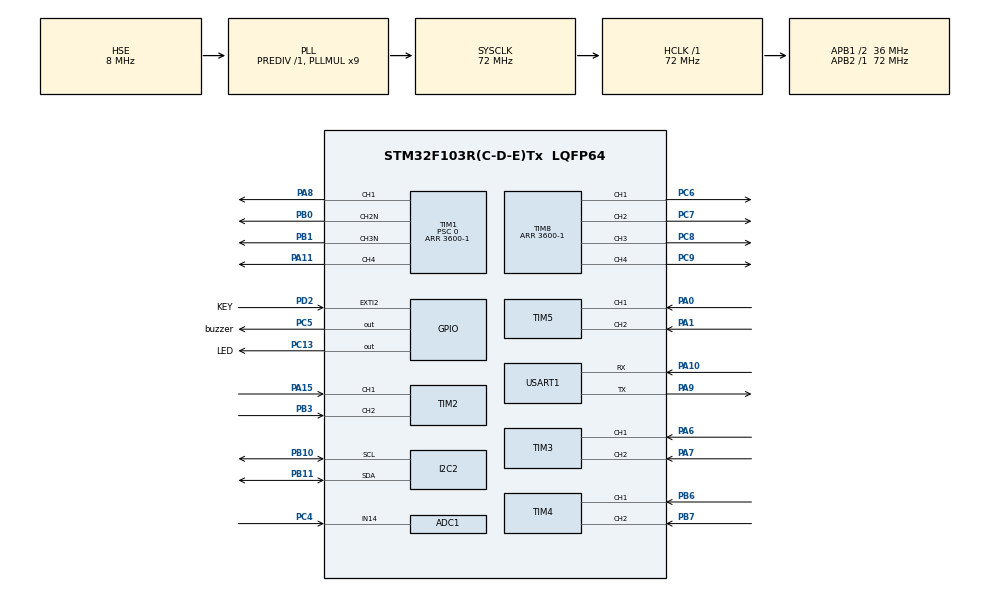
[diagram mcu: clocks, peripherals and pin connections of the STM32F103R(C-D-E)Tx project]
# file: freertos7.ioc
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ADC1.Channel-0\#ChannelRegularConversion=ADC_CHANNEL_14
ADC1.ContinuousConvMode=ENABLE
ADC1.NbrOfConversion=1
ADC1.NbrOfConversionFlag=1
ADC1.Rank-0\#ChannelRegularConversion=1
ADC1.SamplingTime-0\#ChannelRegularConversion=ADC_SAMPLETIME_239CYCLES_5
ADC1.master=1
FREERTOS.Tasks01=defaultTask,24,128,StartDefaultTask,Default,NULL,Dynamic,NULL,NULL
FREERTOS.configTOTAL_HEAP_SIZE=8000
FREERTOS.configUSE_NEWLIB_REENTRANT=1
Mcu.Family=STM32F1
Mcu.Name=STM32F103R(C-D-E)Tx
Mcu.Package=LQFP64
NVIC.EXTI2_IRQn=true\:5\:0\:false\:false\:true\:true\:true\:true\:true
NVIC.PriorityGroup=NVIC_PRIORITYGROUP_4
NVIC.TIM6_IRQn=true\:15\:0\:false\:false\:true\:false\:false\:true\:true
NVIC.TIM7_IRQn=true\:5\:0\:false\:false\:true\:true\:true\:true\:true
NVIC.TimeBase=TIM6_IRQn
NVIC.TimeBaseIP=TIM6
PA0-WKUP.Signal=S_TIM5_CH1
PA1.Signal=S_TIM5_CH2
PA10.Mode=Asynchronous
PA10.Signal=USART1_RX
PA11.Signal=S_TIM1_CH4
PA13.Mode=Serial_Wire
PA13.Signal=SYS_JTMS-SWDIO
PA14.Mode=Serial_Wire
PA14.Signal=SYS_JTCK-SWCLK
PA15.Signal=S_TIM2_CH1_ETR
PA6.Signal=S_TIM3_CH1
PA7.Signal=S_TIM3_CH2
PA8.Signal=S_TIM1_CH1
PA9.Mode=Asynchronous
PA9.Signal=USART1_TX
PB0.Mode=PWM Generation2 CH2N
PB0.Signal=TIM1_CH2N
PB1.Mode=PWM Generation3 CH3N
PB1.Signal=TIM1_CH3N
PB10.Mode=I2C
PB10.Signal=I2C2_SCL
PB11.Mode=I2C
PB11.Signal=I2C2_SDA
PB3.Signal=S_TIM2_CH2
PB6.Signal=S_TIM4_CH1
PB7.Signal=S_TIM4_CH2
PC13-TAMPER-RTC.GPIO_Label=LED
PC13-TAMPER-RTC.Signal=GPIO_Output
PC4.Signal=ADCx_IN14
PC5.GPIO_Label=buzzer
PC5.GPIO_Speed=GPIO_SPEED_FREQ_LOW
PC5.Signal=GPIO_Output
PC6.Signal=S_TIM8_CH1
PC7.Signal=S_TIM8_CH2
PC8.Signal=S_TIM8_CH3
PC9.Signal=S_TIM8_CH4
PD0-OSC_IN.Mode=HSE-External-Oscillator
PD0-OSC_IN.Signal=RCC_OSC_IN
PD1-OSC_OUT.Mode=HSE-External-Oscillator
PD1-OSC_OUT.Signal=RCC_OSC_OUT
PD2.GPIO_Label=KEY
PD2.GPIO_ModeDefaultEXTI=GPIO_MODE_IT_FALLING
PD2.GPIO_PuPd=GPIO_PULLUP
PD2.Signal=GPXTI2
ProjectManager.HeapSize=0x200
ProjectManager.StackSize=0x400
ProjectManager.TargetToolchain=STM32CubeIDE
RCC.ADCPresc=RCC_ADCPCLK2_DIV6
RCC.AHBFreq_Value=72000000
RCC.APB1CLKDivider=RCC_HCLK_DIV2
RCC.APB1Freq_Value=36000000
RCC.APB1TimFreq_Value=72000000
RCC.APB2Freq_Value=72000000
RCC.APB2TimFreq_Value=72000000
RCC.HCLKFreq_Value=72000000
RCC.PLLMUL=RCC_PLL_MUL9
RCC.PLLSourceVirtual=RCC_PLLSOURCE_HSE
RCC.SYSCLKFreq_VALUE=72000000
RCC.SYSCLKSource=RCC_SYSCLKSOURCE_PLLCLK
RCC.USBFreq_Value=72000000
SH.ADCx_IN14.0=ADC1_IN14,IN14
SH.S_TIM1_CH1.0=TIM1_CH1,PWM Generation1 CH1
SH.S_TIM1_CH4.0=TIM1_CH4,PWM Generation4 CH4
SH.S_TIM2_CH1_ETR.0=TIM2_CH1,Encoder_Interface
SH.S_TIM2_CH2.0=TIM2_CH2,Encoder_Interface
SH.S_TIM3_CH1.0=TIM3_CH1,Encoder_Interface
SH.S_TIM3_CH2.0=TIM3_CH2,Encoder_Interface
SH.S_TIM4_CH1.0=TIM4_CH1,Encoder_Interface
SH.S_TIM4_CH2.0=TIM4_CH2,Encoder_Interface
SH.S_TIM5_CH1.0=TIM5_CH1,Encoder_Interface
SH.S_TIM5_CH2.0=TIM5_CH2,Encoder_Interface
SH.S_TIM8_CH1.0=TIM8_CH1,Output Compare1 CH1
SH.S_TIM8_CH2.0=TIM8_CH2,PWM Generation2 CH2
SH.S_TIM8_CH3.0=TIM8_CH3,PWM Generation3 CH3
SH.S_TIM8_CH4.0=TIM8_CH4,PWM Generation4 CH4
TIM1.AutoReloadPreload=TIM_AUTORELOAD_PRELOAD_ENABLE
TIM1.Channel-PWM\ Generation1\ CH1=TIM_CHANNEL_1
TIM1.Channel-PWM\ Generation2\ CH2N=TIM_CHANNEL_2
TIM1.Channel-PWM\ Generation3\ CH3N=TIM_CHANNEL_3
TIM1.Channel-PWM\ Generation4\ CH4=TIM_CHANNEL_4
TIM1.Period=3600-1
TIM1.Prescaler=0
TIM3.AutoReloadPreload=TIM_AUTORELOAD_PRELOAD_ENABLE
TIM3.EncoderMode=TIM_ENCODERMODE_TI12
TIM3.IC1Filter=0xf
TIM3.IC2Filter=0xf
TIM7.AutoReloadPreload=TIM_AUTORELOAD_PRELOAD_ENABLE
TIM7.Period=10000-1
TIM7.Prescaler=7200-1
TIM8.Channel-Output\ Compare1\ CH1=TIM_CHANNEL_1
TIM8.Channel-PWM\ Generation2\ CH2=TIM_CHANNEL_2
TIM8.Channel-PWM\ Generation3\ CH3=TIM_CHANNEL_3
TIM8.Channel-PWM\ Generation4\ CH4=TIM_CHANNEL_4
TIM8.Period=3600-1
USART1.VirtualMode=VM_ASYNC
VP_FREERTOS_VS_CMSIS_V2.Mode=CMSIS_V2
VP_SYS_VS_tim6.Mode=TIM6
VP_TIM1_VS_ClockSourceINT.Mode=Internal
VP_TIM7_VS_ClockSourceINT.Mode=Enable_Timer
VP_TIM8_VS_ClockSourceINT.Mode=Internal
board=custom

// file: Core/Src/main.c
/* USER CODE BEGIN Header */
/**
  ******************************************************************************
  * @file           : main.c
  * @brief          : Main program body
  ******************************************************************************
  * @attention
  *
  * Copyright (c) 2025 STMicroelectronics.
  * All rights reserved.
  *
  * This software is licensed under terms that can be found in the LICENSE file
  * in the root directory of this software component.
  * If no LICENSE file comes with this software, it is provided AS-IS.
  *
  ******************************************************************************
  */
/* USER CODE END Header */
#include "main.h"
#include "cmsis_os.h"
#include "adc.h"
#include "i2c.h"
#include "tim.h"
#include "usart.h"
#include "gpio.h"

/* USER CODE BEGIN Includes */
#include "freertos_ITF.h"
/* USER CODE END Includes */

void SystemClock_Config(void);
void MX_FREERTOS_Init(void);

int main(void)
{

  /* MCU Configuration--------------------------------------------------------*/

  /* Reset of all peripherals, Initializes the Flash interface and the Systick. */
  HAL_Init();

  /* Configure the system clock */
  SystemClock_Config();

  /* Initialize all configured peripherals */
  MX_GPIO_Init();
  MX_I2C2_Init();
  MX_TIM1_Init();
  MX_TIM8_Init();
  MX_TIM3_Init();
  MX_USART1_UART_Init();
  MX_TIM2_Init();
  MX_TIM4_Init();
  MX_TIM5_Init();
  MX_ADC1_Init();
  MX_TIM7_Init();
  /* USER CODE BEGIN 2 */
    GPIO_QueueInit();
    Encoder_Init();
    Motor_Init();
    ADC_Voltage_Init();
    OLED_Init();
    OLED_ShowStr(0, 0, "QueueSet.", 16);
  /* USER CODE END 2 */

  /* Init scheduler */
  osKernelInitialize();

  /* Call init function for freertos objects (in cmsis_os2.c) */
  MX_FREERTOS_Init();

  /* Start scheduler */
  osKernelStart();

  /* We should never get here as control is now taken by the scheduler */

  /* Infinite loop */
    while (1) {

    }
}

void SystemClock_Config(void)
{
  RCC_OscInitTypeDef RCC_OscInitStruct = {0};
  RCC_ClkInitTypeDef RCC_ClkInitStruct = {0};
  RCC_PeriphCLKInitTypeDef PeriphClkInit = {0};

  /** Initializes the RCC Oscillators according to the specified parameters
  * in the RCC_OscInitTypeDef structure.
  */
  RCC_OscInitStruct.OscillatorType = RCC_OSCILLATORTYPE_HSE;
  RCC_OscInitStruct.HSEState = RCC_HSE_ON;
  RCC_OscInitStruct.HSEPredivValue = RCC_HSE_PREDIV_DIV1;
  RCC_OscInitStruct.HSIState = RCC_HSI_ON;
  RCC_OscInitStruct.PLL.PLLState = RCC_PLL_ON;
  RCC_OscInitStruct.PLL.PLLSource = RCC_PLLSOURCE_HSE;
  RCC_OscInitStruct.PLL.PLLMUL = RCC_PLL_MUL9;
  if (HAL_RCC_OscConfig(&RCC_OscInitStruct) != HAL_OK)
  {
    Error_Handler();
  }

  /** Initializes the CPU, AHB and APB buses clocks
  */
  RCC_ClkInitStruct.ClockType = RCC_CLOCKTYPE_HCLK|RCC_CLOCKTYPE_SYSCLK
                              |RCC_CLOCKTYPE_PCLK1|RCC_CLOCKTYPE_PCLK2;
  RCC_ClkInitStruct.SYSCLKSource = RCC_SYSCLKSOURCE_PLLCLK;
  RCC_ClkInitStruct.AHBCLKDivider = RCC_SYSCLK_DIV1;
  RCC_ClkInitStruct.APB1CLKDivider = RCC_HCLK_DIV2;
  RCC_ClkInitStruct.APB2CLKDivider = RCC_HCLK_DIV1;

  if (HAL_RCC_ClockConfig(&RCC_ClkInitStruct, FLASH_LATENCY_2) != HAL_OK)
  {
    Error_Handler();
  }
  PeriphClkInit.PeriphClockSelection = RCC_PERIPHCLK_ADC;
  PeriphClkInit.AdcClockSelection = RCC_ADCPCLK2_DIV6;
  if (HAL_RCCEx_PeriphCLKConfig(&PeriphClkInit) != HAL_OK)
  {
    Error_Handler();
  }
}

void HAL_TIM_PeriodElapsedCallback(TIM_HandleTypeDef *htim)
{
  /* USER CODE BEGIN Callback 0 */

    if (htim->Instance == TIM7) {
//        Encoder_Func_IRQ();
    }
  /* USER CODE END Callback 0 */
  if (htim->Instance == TIM6) {
    HAL_IncTick();
  }
}

void Error_Handler(void)
{
    __disable_irq();
    while (1) {
    }
}

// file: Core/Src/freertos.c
/* USER CODE BEGIN Header */
/**
  ******************************************************************************
  * File Name          : freertos.c
  * Description        : Code for freertos applications
  ******************************************************************************
  * @attention
  *
  * Copyright (c) 2025 STMicroelectronics.
  * All rights reserved.
  *
  * This software is licensed under terms that can be found in the LICENSE file
  * in the root directory of this software component.
  * If no LICENSE file comes with this software, it is provided AS-IS.
  *
  ******************************************************************************
  */
/* USER CODE END Header */

#include "FreeRTOS.h"
#include "task.h"
#include "main.h"
#include "cmsis_os.h"

/* USER CODE BEGIN Includes */
#include "freertos_ITF.h"
/* USER CODE END Includes */

/* USER CODE BEGIN Variables */
static QueueSetHandle_t g_InputQueueSetHandle;
static QueueHandle_t g_OLEDQueue;
/* USER CODE END Variables */
/* Definitions for defaultTask */
osThreadId_t defaultTaskHandle;
const osThreadAttr_t defaultTask_attributes = {
        .name = "defaultTask",
        .stack_size = 64,
        .priority = (osPriority_t) osPriorityNormal,
};

/* USER CODE BEGIN FunctionPrototypes */
void QueueSet_Init(void);

void OLED_Queue_Task(void *argument);

void Input_Queue_Task(void *argument);

/* USER CODE END FunctionPrototypes */

void StartDefaultTask(void *argument);

void MX_FREERTOS_Init(void); /* (MISRA C 2004 rule 8.1) */

void MX_FREERTOS_Init(void) {
    /* USER CODE BEGIN Init */
    QueueSet_Init();
    /* USER CODE END Init */

    /* Create the thread(s) */
    /* creation of defaultTask */
    defaultTaskHandle = osThreadNew(StartDefaultTask, NULL, &defaultTask_attributes);

    /* USER CODE BEGIN RTOS_THREADS */
    /* add threads, ... */
    xTaskCreate(OLED_Queue_Task, "QueueTask1", 128, NULL, osPriorityNormal, NULL);
    xTaskCreate(Input_Queue_Task, "QueueTask2", 128, NULL, osPriorityNormal, NULL);

    /* USER CODE END RTOS_THREADS */

}

void StartDefaultTask(void *argument) {
    /* USER CODE BEGIN StartDefaultTask */
    /* Infinite loop */
    rtMotor_Test();
//    rtVoltage_oled_Test();
    /* USER CODE END StartDefaultTask */
}

/* USER CODE BEGIN Application */
void OLED_Queue_Task(void *argument) {
    /* 定义结构 */
    xOLEDData OLED_Queue_Data;
    while (1) {
        /* 读队列 */
        if (pdTRUE == xQueueReceive(g_OLEDQueue, &OLED_Queue_Data, portMAX_DELAY)) {
            OLED_Clear();
            /* 显示队列数据 */
            OLED_ShowNum(0, 0, OLED_Queue_Data.value1, 4, 16);
            OLED_ShowStr(40, 0, OLED_Queue_Data.messages, 16);
            OLED_ShowNum(0, 2, OLED_Queue_Data.value2, 4, 16);
        }
//        vTaskDelay(200);

    }
}

void Input_Queue_Task(void *argument) {
    QueueHandle_t Result_QueueHandel;
    /* 定义结构体 */
    xGPIOData GPIO_Queue_Data;
    xEncoderData Encoder_Queue_Data;
    xOLEDData OLED_Queue_Data;
    while (1) {
        /* 读队列集，得到队列句柄 */
        Result_QueueHandel = xQueueSelectFromSet(g_InputQueueSetHandle, portMAX_DELAY);
        if (Result_QueueHandel) {
            if (Result_QueueHandel == GPIO_GetQueueHandle()) {
                /* 读队列句柄，得到数据 */
                xQueueReceive(Result_QueueHandel, &GPIO_Queue_Data, 0);
                /* 处理数据 */
                OLED_Queue_Data.value1 = GPIO_Queue_Data.count;
                OLED_Queue_Data.value2 = GPIO_Queue_Data.sum;
                strcpy(OLED_Queue_Data.messages, "None");
            } else if (Result_QueueHandel == Encoder_GetQueueHandle()) {
                /* 读队列句柄，得到数据 */
                xQueueReceive(Result_QueueHandel, &Encoder_Queue_Data, 0);
                /* 处理数据 */
                OLED_Queue_Data.value1 = Encoder_Queue_Data.speed;
                OLED_Queue_Data.value2 = Encoder_Queue_Data.value;
                strcpy(OLED_Queue_Data.messages, Encoder_Queue_Data.device);
            }
            /* 写OLED队列 */
            xQueueSend(g_OLEDQueue, &OLED_Queue_Data, 0);
        }
    }
}

/* 初始化队列集 */
void QueueSet_Init(void) {
    QueueHandle_t GPIO_QueueHandle;
    QueueHandle_t Encoder_QueueHandle;
    /* 获取队列句柄 */
    GPIO_QueueHandle = GPIO_GetQueueHandle();
    Encoder_QueueHandle = Encoder_GetQueueHandle();
    /* 创建队列柄 */
    g_InputQueueSetHandle = xQueueCreateSet(Encoder_QUEUE_LENGTH + GPIO_QUEUE_LENGTH);
    /* 将队列加入队列集 */
    xQueueAddToSet(GPIO_QueueHandle, g_InputQueueSetHandle);
    xQueueAddToSet(Encoder_QueueHandle, g_InputQueueSetHandle);
    /* 创建OLED队列 */
    g_OLEDQueue = xQueueCreate(10, sizeof(xOLEDData));
}
/* USER CODE END Application */
